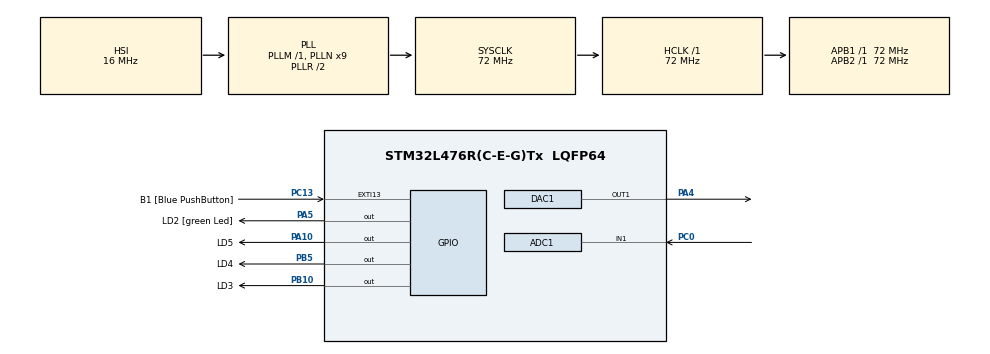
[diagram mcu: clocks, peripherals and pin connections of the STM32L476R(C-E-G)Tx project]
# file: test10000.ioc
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ADC1.Channel-0\#ChannelRegularConversion=ADC_CHANNEL_1
ADC1.DMAContinuousRequests=ENABLE
ADC1.EnableAnalogWatchDog3=false
ADC1.ExternalTrigConv=ADC_EXTERNALTRIG_T6_TRGO
ADC1.NbrOfConversion=1
ADC1.NbrOfConversionFlag=1
ADC1.OffsetNumber-0\#ChannelRegularConversion=ADC_OFFSET_NONE
ADC1.Rank-0\#ChannelRegularConversion=1
ADC1.SamplingTime-0\#ChannelRegularConversion=ADC_SAMPLETIME_2CYCLES_5
ADC1.master=1
ARM.CMSIS.4.5.0.CMSISJjDSP=true
DAC1.DAC_Trigger-DAC_OUT1=DAC_TRIGGER_T6_TRGO
Dma.ADC1.0.Direction=DMA_PERIPH_TO_MEMORY
Dma.ADC1.0.Instance=DMA1_Channel1
Dma.ADC1.0.MemDataAlignment=DMA_MDATAALIGN_WORD
Dma.ADC1.0.MemInc=DMA_MINC_ENABLE
Dma.ADC1.0.Mode=DMA_CIRCULAR
Dma.ADC1.0.PeriphDataAlignment=DMA_PDATAALIGN_WORD
Dma.ADC1.0.PeriphInc=DMA_PINC_DISABLE
Dma.ADC1.0.Priority=DMA_PRIORITY_HIGH
Dma.DAC_CH1.1.Direction=DMA_MEMORY_TO_PERIPH
Dma.DAC_CH1.1.Instance=DMA2_Channel4
Dma.DAC_CH1.1.MemDataAlignment=DMA_MDATAALIGN_WORD
Dma.DAC_CH1.1.MemInc=DMA_MINC_ENABLE
Dma.DAC_CH1.1.Mode=DMA_CIRCULAR
Dma.DAC_CH1.1.PeriphDataAlignment=DMA_PDATAALIGN_WORD
Dma.DAC_CH1.1.PeriphInc=DMA_PINC_DISABLE
Dma.DAC_CH1.1.Priority=DMA_PRIORITY_HIGH
Dma.Request0=ADC1
Dma.Request1=DAC_CH1
Mcu.Family=STM32L4
Mcu.Name=STM32L476R(C-E-G)Tx
Mcu.Package=LQFP64
NVIC.DMA1_Channel1_IRQn=true\:0\:0\:false\:false\:true\:false\:true\:true
NVIC.DMA2_Channel4_IRQn=true\:0\:0\:false\:false\:true\:false\:true\:true
NVIC.PriorityGroup=NVIC_PRIORITYGROUP_4
NVIC.TIM7_IRQn=true\:0\:0\:false\:false\:true\:true\:true\:true
PA10.GPIO_Label=LD5
PA10.Signal=GPIO_Output
PA13\ (JTMS-SWDIO).GPIO_Label=TMS
PA13\ (JTMS-SWDIO).Mode=Serial_Wire
PA13\ (JTMS-SWDIO).Signal=SYS_JTMS-SWDIO
PA14\ (JTCK-SWCLK).GPIO_Label=TCK
PA14\ (JTCK-SWCLK).Mode=Serial_Wire
PA14\ (JTCK-SWCLK).Signal=SYS_JTCK-SWCLK
PA4.Signal=COMP_DAC11_group
PA5.GPIO_Label=LD2 [green Led]
PA5.GPIO_ModeDefaultOutputPP=GPIO_MODE_OUTPUT_PP
PA5.GPIO_PuPd=GPIO_NOPULL
PA5.GPIO_Speed=GPIO_SPEED_FREQ_LOW
PA5.Signal=GPIO_Output
PB10.GPIO_Label=LD3
PB10.Signal=GPIO_Output
PB3\ (JTDO-TRACESWO).GPIO_Label=SWO
PB3\ (JTDO-TRACESWO).Signal=SYS_JTDO-SWO
PB5.GPIO_Label=LD4
PB5.Signal=GPIO_Output
PC0.Signal=ADCx_IN1
PC13.GPIO_Label=B1 [Blue PushButton]
PC13.GPIO_ModeDefaultEXTI=GPIO_MODE_IT_FALLING
PC13.GPIO_PuPd=GPIO_NOPULL
PC13.Signal=GPXTI13
PC14-OSC32_IN\ (PC14).Mode=LSE-External-Oscillator
PC14-OSC32_IN\ (PC14).Signal=RCC_OSC32_IN
PC15-OSC32_OUT\ (PC15).Mode=LSE-External-Oscillator
PC15-OSC32_OUT\ (PC15).Signal=RCC_OSC32_OUT
PH0-OSC_IN\ (PH0).Signal=RCC_OSC_IN
PH1-OSC_OUT\ (PH1).Signal=RCC_OSC_OUT
ProjectManager.HeapSize=0x200
ProjectManager.StackSize=0x400
ProjectManager.TargetToolchain=STM32CubeIDE
RCC.ADCFreq_Value=64000000
RCC.AHBFreq_Value=72000000
RCC.APB1Freq_Value=72000000
RCC.APB1TimFreq_Value=72000000
RCC.APB2Freq_Value=72000000
RCC.APB2TimFreq_Value=72000000
RCC.CortexFreq_Value=72000000
RCC.HCLKFreq_Value=72000000
RCC.HSE_VALUE=8000000
RCC.HSI_VALUE=16000000
RCC.MSI_VALUE=4000000
RCC.PLLN=9
RCC.PLLSourceVirtual=RCC_PLLSOURCE_HSI
RCC.PREFETCH_ENABLE=1
RCC.SYSCLKFreq_VALUE=72000000
RCC.SYSCLKSource=RCC_SYSCLKSOURCE_PLLCLK
RCC.USBFreq_Value=64000000
RCC.VCOOutputFreq_Value=144000000
SH.ADCx_IN1.0=ADC1_IN1,IN1-Single-Ended
SH.COMP_DAC11_group.0=DAC1_OUT1,DAC_OUT1
TIM6.Period=1499
TIM6.TIM_MasterOutputTrigger=TIM_TRGO_UPDATE
TIM7.Period=0
TIM7.Prescaler=719
VP_ARM.CMSIS_VS_CMSISJjDSP_1.4.6_4.5.0.Mode=CMSISJjDSP
VP_TIM6_VS_ClockSourceINT.Mode=Enable_Timer
VP_TIM7_VS_ClockSourceINT.Mode=Enable_Timer
board=NUCLEO-L476RG

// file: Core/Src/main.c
/* USER CODE BEGIN Header */
/**
  ******************************************************************************
  * @file           : main.c
  * @brief          : Main program body
  ******************************************************************************
  * @attention
  *
  * <h2><center>&copy; Copyright (c) 2022 STMicroelectronics.
  * All rights reserved.</center></h2>
  *
  * This software component is licensed by ST under BSD 3-Clause license,
  * the "License"; You may not use this file except in compliance with the
  * License. You may obtain a copy of the License at:
  *                        opensource.org/licenses/BSD-3-Clause
  *
  ******************************************************************************
  */
/* USER CODE END Header */
#include "main.h"
#include "adc.h"
#include "dac.h"
#include "dma.h"
#include "tim.h"
#include "gpio.h"

/* USER CODE BEGIN Includes */

#include <math.h>
/* USER CODE END Includes */

/* USER CODE BEGIN PD */
#define FullBufSize 1024
#define DataSize 512
#define Multiplicator 2

#define k_G1 1730*Multiplicator
#define k_G2 1494*Multiplicator
#define k_G3 1941*Multiplicator
#define k_G4 2156*Multiplicator
#define k_WP1 240*Multiplicator
#define k_WP2 81*Multiplicator
#define k_WP3 23*Multiplicator
/* USER CODE END PD */

/* USER CODE BEGIN PV */

uint32_t ADC_val[FullBufSize];
uint32_t DAC_val[FullBufSize];
float floatBufor[DataSize];

static volatile uint32_t* InBufPtr;
static volatile uint32_t* OutBufPtr;

float W = 0.7f;
float T = 1.0f;

int	Read_Ready = 0;
int DSP_Ready = 0;

int count=0;
float count2;
int G1_lim, G2_lim, G3_lim, G4_lim, WP1_lim, WP2_lim, WP3_lim;

float Gbuf1[k_G1], Gbuf2[k_G2], Gbuf3[k_G3], Gbuf4[k_G4];
float WPbuf1[k_WP1], WPbuf2[k_WP1], WPbuf3[k_WP1];

float G1_alpha = 0.805f, G2_alpha = 0.827f, G3_alpha = 0.783f, G4_alpha = 0.764f;
float WP1_alpha = 0.7f, WP2_alpha = 0.7f, WP3_alpha = 0.7f;

int G1_p = 0, G2_p = 0, G3_p = 0, G4_p = 0, WP1_p = 0, WP2_p = 0,WP3_p = 0;
/* USER CODE END PV */

void SystemClock_Config(void);

/* USER CODE BEGIN 0 */

void HAL_ADC_ConvHalfCpltCallback(ADC_HandleTypeDef *hadc)
{
InBufPtr = &ADC_val[0];
OutBufPtr = &DAC_val[DataSize];
HAL_GPIO_WritePin(LD2_GPIO_Port, LD2_Pin, GPIO_PIN_SET);
Read_Ready = 1;
if(DSP_Ready == 0)HAL_GPIO_WritePin(LD5_GPIO_Port, LD5_Pin, GPIO_PIN_SET);
}

void HAL_ADC_ConvCpltCallback(ADC_HandleTypeDef *hadc)
{
InBufPtr = &ADC_val[DataSize];
OutBufPtr = &DAC_val[0];
HAL_GPIO_WritePin(LD2_GPIO_Port, LD2_Pin, GPIO_PIN_RESET);
if(DSP_Ready == 0)HAL_GPIO_WritePin(LD5_GPIO_Port, LD5_Pin, GPIO_PIN_SET);
Read_Ready = 1;
}

float DO_G1(float inSample){
	float readback = Gbuf1[G1_p];
	float new = readback*G1_alpha + inSample;
	Gbuf1[G1_p] = new;
	G1_p++;
	if(G1_p == G1_lim) G1_p = 0;
	return readback;
}

float DO_G2(float inSample){
	float readback = Gbuf2[G2_p];
	float new = readback*G2_alpha + inSample;
	Gbuf2[G2_p] = new;
	G2_p++;
	if(G2_p == G2_lim) G2_p = 0;
	return readback;
}

float DO_G3(float inSample){
	float readback = Gbuf3[G3_p];
	float new = readback*G3_alpha + inSample;
	Gbuf3[G3_p] = new;
	G3_p++;
	if(G3_p == G3_lim) G3_p = 0;
	return readback;
}

float DO_G4(float inSample){
	float readback = Gbuf4[G4_p];
	float new = readback*G4_alpha + inSample;
	Gbuf4[G4_p] = new;
	G4_p++;
	if(G4_p == G4_lim) G4_p = 0;
	return readback;
}

float DO_WP1(float inSample){
	float readback = WPbuf1[WP1_p];
	readback += (-WP1_alpha) * inSample;
	float new = readback*WP1_alpha + inSample;
	WPbuf1[WP1_p] = new;
	WP1_p++;
	if(WP1_p == WP1_lim) WP1_p = 0;
	return readback;
}

float DO_WP2(float inSample){
	float readback = WPbuf2[WP2_p];
	readback += (-WP2_alpha) * inSample;
	float new = readback*WP2_alpha + inSample;
	WPbuf2[WP2_p] = new;
	WP2_p++;
	if(WP2_p == WP2_lim) WP2_p = 0;
	return readback;
}

float DO_WP3(float inSample){
	float readback = WPbuf3[WP3_p];
	readback += (-WP3_alpha) * inSample;
	float new = readback*WP3_alpha + inSample;
	WPbuf3[WP3_p] = new;
	WP3_p++;
	if(WP3_p == WP3_lim) WP3_p = 0;
	return readback;
}

float Do_Reverb(float inSample){
	float newsample = (DO_G1(inSample) + DO_G2(inSample) + DO_G3(inSample) + DO_G4(inSample))/4.0f;
	newsample = DO_WP1(newsample);
	newsample = DO_WP2(newsample);
	newsample = DO_WP3(newsample);
	return newsample;
}

void processDSPstraight(){
	for(int n=0; n<DataSize; n++){
		OutBufPtr[n]=InBufPtr[n];
	}
}

void processDSP(){
	DSP_Ready = 0;
	for(int n=0; n<DataSize; n++){
		floatBufor[n] = (((float)(InBufPtr[n])-2048)/2048);
		float sum = floatBufor[n];
		sum = (1.0f-W)*sum + W*Do_Reverb(sum);
		OutBufPtr[n]=(uint32_t)((sum*2048)+2048);
	}
}

/* USER CODE END 0 */

int main(void)
{

  /* MCU Configuration--------------------------------------------------------*/

  /* Reset of all peripherals, Initializes the Flash interface and the Systick. */
  HAL_Init();

  /* Configure the system clock */
  SystemClock_Config();

  /* Initialize all configured peripherals */
  MX_GPIO_Init();
  MX_DMA_Init();
  MX_TIM6_Init();
  MX_ADC1_Init();
  MX_DAC1_Init();
  MX_TIM7_Init();
  /* USER CODE BEGIN 2 */

  G1_lim = (int)(T*k_G1);
  G2_lim = (int)(T*k_G2);
  G3_lim = (int)(T*k_G3);
  G4_lim = (int)(T*k_G4);
  WP1_lim = (int)(T*k_WP1);
  WP2_lim = (int)(T*k_WP2);
  WP3_lim = (int)(T*k_WP3);

  HAL_TIM_Base_Start(&htim6);
  HAL_TIM_Base_Start(&htim7);
  HAL_ADC_Start_DMA(&hadc1, (uint32_t*)ADC_val, FullBufSize);
  HAL_DAC_Start_DMA(&hdac1, DAC_CHANNEL_1, (uint32_t*)DAC_val, FullBufSize, DAC_ALIGN_12B_R);

  /* USER CODE END 2 */

  /* Infinite loop */
  while (1)
  {

    /* USER CODE BEGIN 3 */
	  if(Read_Ready == 1){
		  __HAL_TIM_SET_COUNTER(&htim7,0);
		  //processDSPstraight();
		  processDSP();
		  count=__HAL_TIM_GET_COUNTER(&htim7);
		  count2 =(float)(count)*1e-5;
		  Read_Ready = 0;
		  DSP_Ready = 1;
		  HAL_GPIO_WritePin(LD5_GPIO_Port, LD5_Pin, GPIO_PIN_RESET);
	  }
  }
  /* USER CODE END 3 */
}

void SystemClock_Config(void)
{
  RCC_OscInitTypeDef RCC_OscInitStruct = {0};
  RCC_ClkInitTypeDef RCC_ClkInitStruct = {0};
  RCC_PeriphCLKInitTypeDef PeriphClkInit = {0};

  /** Initializes the RCC Oscillators according to the specified parameters
  * in the RCC_OscInitTypeDef structure.
  */
  RCC_OscInitStruct.OscillatorType = RCC_OSCILLATORTYPE_HSI;
  RCC_OscInitStruct.HSIState = RCC_HSI_ON;
  RCC_OscInitStruct.HSICalibrationValue = RCC_HSICALIBRATION_DEFAULT;
  RCC_OscInitStruct.PLL.PLLState = RCC_PLL_ON;
  RCC_OscInitStruct.PLL.PLLSource = RCC_PLLSOURCE_HSI;
  RCC_OscInitStruct.PLL.PLLM = 1;
  RCC_OscInitStruct.PLL.PLLN = 9;
  RCC_OscInitStruct.PLL.PLLP = RCC_PLLP_DIV7;
  RCC_OscInitStruct.PLL.PLLQ = RCC_PLLQ_DIV2;
  RCC_OscInitStruct.PLL.PLLR = RCC_PLLR_DIV2;
  if (HAL_RCC_OscConfig(&RCC_OscInitStruct) != HAL_OK)
  {
    Error_Handler();
  }
  /** Initializes the CPU, AHB and APB buses clocks
  */
  RCC_ClkInitStruct.ClockType = RCC_CLOCKTYPE_HCLK|RCC_CLOCKTYPE_SYSCLK
                              |RCC_CLOCKTYPE_PCLK1|RCC_CLOCKTYPE_PCLK2;
  RCC_ClkInitStruct.SYSCLKSource = RCC_SYSCLKSOURCE_PLLCLK;
  RCC_ClkInitStruct.AHBCLKDivider = RCC_SYSCLK_DIV1;
  RCC_ClkInitStruct.APB1CLKDivider = RCC_HCLK_DIV1;
  RCC_ClkInitStruct.APB2CLKDivider = RCC_HCLK_DIV1;

  if (HAL_RCC_ClockConfig(&RCC_ClkInitStruct, FLASH_LATENCY_4) != HAL_OK)
  {
    Error_Handler();
  }
  PeriphClkInit.PeriphClockSelection = RCC_PERIPHCLK_ADC;
  PeriphClkInit.AdcClockSelection = RCC_ADCCLKSOURCE_PLLSAI1;
  PeriphClkInit.PLLSAI1.PLLSAI1Source = RCC_PLLSOURCE_HSI;
  PeriphClkInit.PLLSAI1.PLLSAI1M = 1;
  PeriphClkInit.PLLSAI1.PLLSAI1N = 8;
  PeriphClkInit.PLLSAI1.PLLSAI1P = RCC_PLLP_DIV7;
  PeriphClkInit.PLLSAI1.PLLSAI1Q = RCC_PLLQ_DIV2;
  PeriphClkInit.PLLSAI1.PLLSAI1R = RCC_PLLR_DIV2;
  PeriphClkInit.PLLSAI1.PLLSAI1ClockOut = RCC_PLLSAI1_ADC1CLK;
  if (HAL_RCCEx_PeriphCLKConfig(&PeriphClkInit) != HAL_OK)
  {
    Error_Handler();
  }
  /** Configure the main internal regulator output voltage
  */
  if (HAL_PWREx_ControlVoltageScaling(PWR_REGULATOR_VOLTAGE_SCALE1) != HAL_OK)
  {
    Error_Handler();
  }
}

void Error_Handler(void)
{
  __disable_irq();
  while (1)
  {
  }
}

/************************ (C) COPYRIGHT STMicroelectronics *****END OF FILE****/
